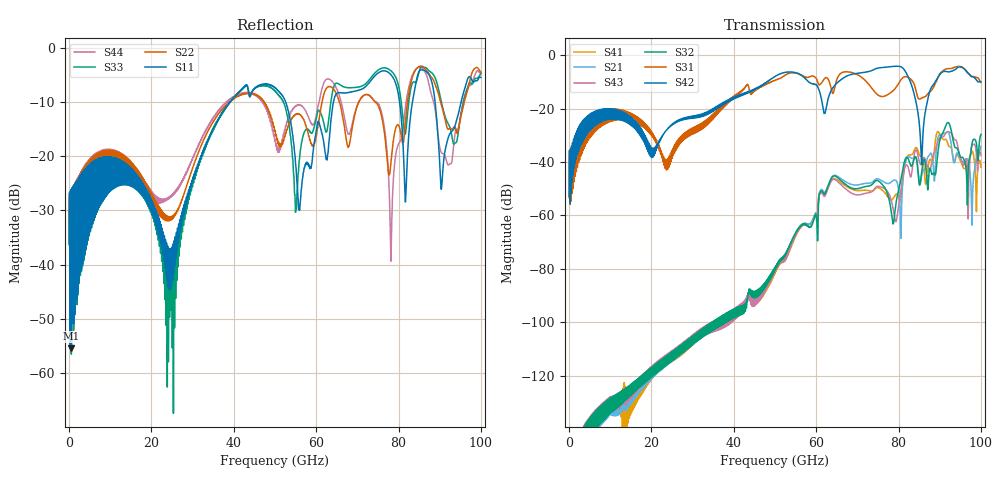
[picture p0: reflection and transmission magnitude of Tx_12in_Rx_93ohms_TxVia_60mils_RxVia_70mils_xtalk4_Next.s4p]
! Info: Touchstone file created by Circ.  Input file=Tx_12in_Rx_93ohms_TxVia_60mils_RxVia_70mils.circ
# Hz S RI R 50
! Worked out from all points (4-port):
!   10000 points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, 10 MHz to 100 GHz, reference 50 ohm
!   strongest paths, dB at 10 MHz, 25.01 GHz, 50.01 GHz, 75.01 GHz, 100 GHz:
!     S42: -52.7, -26.0, -8.0, -4.8, -10.0
!     S31: -53.4, -38.4, -9.5, -14.9, -10.2
!     S32: -195.3, -112.3, -80.6, -47.0, -29.7
!     S43: -159.3, -111.6, -81.2, -49.1, -37.5
!     S21: -195.9, -113.4, -81.1, -46.3, -34.2
!     S41: -161.0, -112.9, -81.9, -49.6, -41.9
!   lowest |S11| = -55.4 dB at 550 MHz (marker M1), VSWR 1.00, Z = 49.9 - j0.0784 ohm
!   |S11| at or under -10 dB: start of sweep to 39.15 GHz; 52.54 GHz to 64.23 GHz (11.69 GHz wide, 20 % of centre); 88.87 GHz to 95.21 GHz (6.336 GHz wide, 6.88 % of centre) (the widest 3 of 4)
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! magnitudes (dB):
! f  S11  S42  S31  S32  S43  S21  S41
! 10 MHz  -36.4  -52.7  -53.4  -195.3  -159.3  -195.9  -161.0
! 550 MHz  -55.4  -36.3  -36.4  -161.1  -160.8  -162.5  -161.1
! 24.87 GHz  -43.7  -26.2  -36.2  -112.5  -112.5  -112.4  -112.6
! 49.59 GHz  -7.2  -8.3  -9.6  -80.5  -80.7  -81.3  -81.8
! 78.19 GHz  -5.0  -4.3  -14.0  -58.2  -54.1  -47.6  -54.3
! 85.58 GHz  -4.1  -40.8  -16.1  -44.1  -40.9  -45.4  -37.8
! 100 GHz  -5.5  -10.0  -10.2  -29.7  -37.5  -34.2  -41.9
